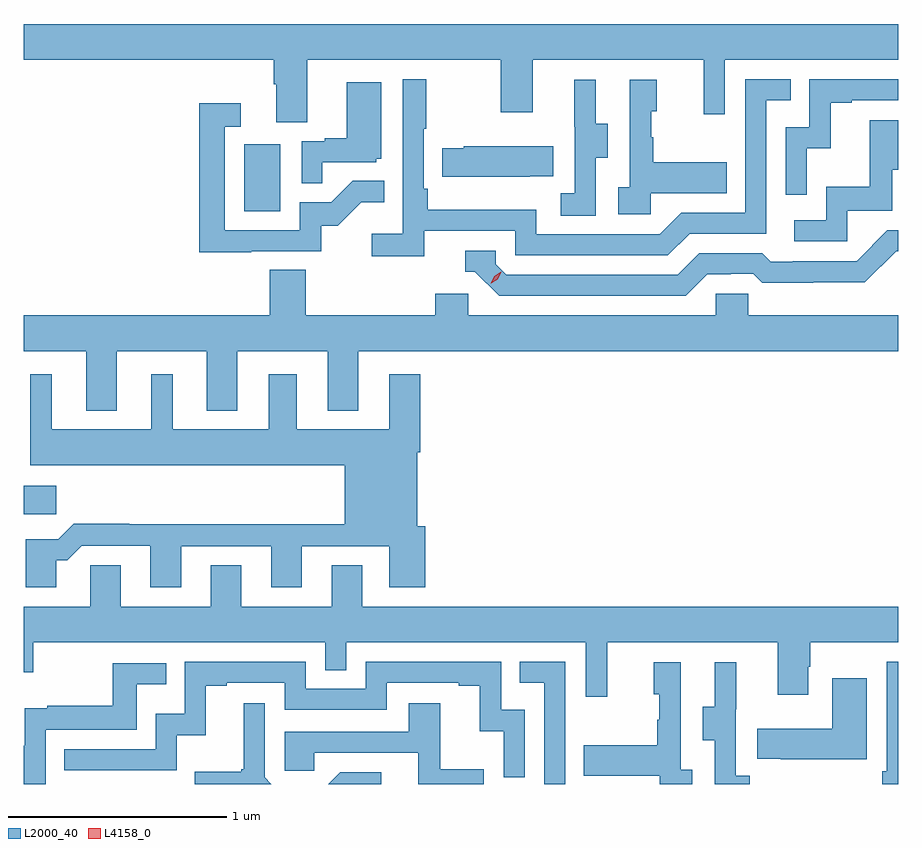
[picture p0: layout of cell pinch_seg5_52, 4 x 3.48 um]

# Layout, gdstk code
import gdstk
lib = gdstk.Library(unit=1e-6, precision=1e-09)
def R(c, l, rs):  # rectangles x0, y0, x1, y1
    for r in rs: c.add(gdstk.rectangle(r[:2], r[2:], *l))
def P(c, l, *ps):  # polygons
    for p in ps: c.add(gdstk.Polygon(p, *l))
L2000_40 = (2000, 40)
L4158_0 = (4158, 0)

pinch_seg5_52 = lib.new_cell('pinch_seg5_52')
R(pinch_seg5_52, L2000_40, [(1089.385,899.971,1089.535,900.1), (1090.394,901.356,1090.558,901.663)])
P(pinch_seg5_52, L2000_40, [(1089.385,902.048),(1090.529,902.048),(1090.529,901.936),(1090.541,901.936),(1090.541,901.762),(1090.681,901.762),(1090.681,902.048),(1091.566,902.048),(1091.566,901.809),(1091.713,901.809),(1091.713,902.048),(1092.494,902.048),(1092.494,901.8),(1092.591,901.8),(1092.591,902.048),(1093.385,902.048),(1093.385,902.212),(1089.385,902.212)],
  [(1091.216,901.266),(1091.634,901.266),(1091.634,901.155),(1092.331,901.155),(1092.43,901.254),(1092.78,901.254),(1092.78,901.863),(1092.893,901.863),(1092.893,901.959),(1092.684,901.959),(1092.684,901.35),(1092.393,901.35),(1092.294,901.251),(1091.73,901.251),(1091.73,901.363),(1091.234,901.363),(1091.234,901.459),(1091.214,901.459),(1091.214,901.732),(1091.227,901.732),(1091.227,901.96),(1091.118,901.96),(1091.118,901.252),(1090.977,901.252),(1090.977,901.15),(1091.216,901.15)],
  [(1092.966,901.643),(1093.076,901.643),(1093.076,901.851),(1093.171,901.851),(1093.171,901.863),(1093.385,901.863),(1093.385,901.959),(1092.978,901.959),(1092.978,901.74),(1092.87,901.74),(1092.87,901.431),(1092.966,901.431)],
  [(1092,901.6),(1092.055,901.6),(1092.055,901.755),(1092.001,901.755),(1092.001,901.957),(1091.903,901.957),(1091.903,901.743),(1091.904,901.743),(1091.904,901.439),(1091.841,901.439),(1091.841,901.336),(1092,901.336)],
  [(1092.252,901.439),(1092.599,901.439),(1092.599,901.579),(1092.265,901.579),(1092.265,901.694),(1092.255,901.694),(1092.255,901.812),(1092.28,901.812),(1092.28,901.957),(1092.156,901.957),(1092.156,901.466),(1092.105,901.466),(1092.105,901.341),(1092.252,901.341)],
  [(1090.751,901.581),(1090.998,901.581),(1090.998,901.596),(1091.02,901.596),(1091.02,901.945),(1090.862,901.945),(1090.862,901.69),(1090.763,901.69),(1090.763,901.677),(1090.656,901.677),(1090.656,901.483),(1090.751,901.483)],
  [(1090.427,901.173),(1090.746,901.173),(1090.746,901.29),(1090.822,901.29),(1090.929,901.397),(1091.033,901.397),(1091.033,901.496),(1090.889,901.496),(1090.791,901.398),(1090.647,901.398),(1090.647,901.269),(1090.305,901.269),(1090.305,901.743),(1090.378,901.743),(1090.378,901.849),(1090.189,901.849),(1090.189,901.168),(1090.427,901.168)],
  [(1093.152,901.359),(1093.357,901.359),(1093.357,901.545),(1093.385,901.545),(1093.385,901.771),(1093.255,901.771),(1093.255,901.468),(1093.056,901.468),(1093.056,901.314),(1092.909,901.314),(1092.909,901.218),(1093.152,901.218)],
  [(1091.699,901.517),(1091.807,901.517),(1091.807,901.654),(1091.397,901.654),(1091.397,901.644),(1091.299,901.644),(1091.299,901.514),(1091.699,901.514)],
  [(1092.511,901.068),(1092.618,901.068),(1092.618,901.071),(1092.721,901.071),(1092.763,901.029),(1092.996,901.029),(1092.996,901.031),(1093.232,901.031),(1093.374,901.173),(1093.385,901.173),(1093.385,901.269),(1093.335,901.269),(1093.194,901.128),(1092.901,901.128),(1092.901,901.125),(1092.802,901.125),(1092.763,901.164),(1092.474,901.164),(1092.375,901.065),(1091.592,901.065),(1091.544,901.113),(1091.544,901.176),(1091.405,901.176),(1091.405,901.08),(1091.448,901.08),(1091.559,900.969),(1092.412,900.969)],
  [(1089.385,900.716),(1089.671,900.716),(1089.671,900.443),(1089.811,900.443),(1089.811,900.716),(1090.223,900.716),(1090.223,900.443),(1090.363,900.443),(1090.363,900.716),(1090.775,900.716),(1090.775,900.443),(1090.915,900.443),(1090.915,900.716),(1093.385,900.716),(1093.385,900.88),(1092.699,900.88),(1092.699,900.978),(1092.549,900.978),(1092.549,900.88),(1091.418,900.88),(1091.418,900.978),(1091.267,900.978),(1091.267,900.88),(1090.676,900.88),(1090.676,901.088),(1090.511,901.088),(1090.511,900.88),(1089.385,900.88)],
  [(1089.535,899.759),(1089.584,899.759),(1089.651,899.826),(1089.965,899.826),(1089.965,899.637),(1090.105,899.637),(1090.105,899.823),(1090.517,899.823),(1090.517,899.637),(1090.657,899.637),(1090.657,899.823),(1091.057,899.823),(1091.057,899.637),(1091.222,899.637),(1091.222,899.916),(1091.185,899.916),(1091.185,900.254),(1091.198,900.254),(1091.198,900.61),(1091.057,900.61),(1091.057,900.358),(1090.633,900.358),(1090.633,900.61),(1090.505,900.61),(1090.505,900.358),(1090.066,900.358),(1090.066,900.61),(1089.968,900.61),(1089.968,900.358),(1089.514,900.358),(1089.514,900.61),(1089.416,900.61),(1089.416,900.194),(1090.853,900.194),(1090.853,899.924),(1089.869,899.924),(1089.869,899.927),(1089.614,899.927),(1089.544,899.857),(1089.395,899.857),(1089.395,899.637),(1089.535,899.637)],
  [(1092.053,899.384),(1092.833,899.384),(1092.833,899.145),(1092.973,899.145),(1092.973,899.273),(1092.981,899.273),(1092.981,899.384),(1093.385,899.384),(1093.385,899.548),(1090.933,899.548),(1090.933,899.738),(1090.793,899.738),(1090.793,899.548),(1090.381,899.548),(1090.381,899.738),(1090.241,899.738),(1090.241,899.548),(1089.829,899.548),(1089.829,899.738),(1089.69,899.738),(1089.69,899.548),(1089.385,899.548),(1089.385,899.249),(1089.429,899.249),(1089.429,899.384),(1090.764,899.384),(1090.764,899.257),(1090.86,899.257),(1090.86,899.384),(1091.955,899.384),(1091.955,899.136),(1092.053,899.136)],
  [(1093.385,899.296),(1093.332,899.296),(1093.332,898.795),(1093.312,898.795),(1093.312,898.737),(1093.385,898.737)],
  [(1091.862,899.295),(1091.653,899.295),(1091.653,899.199),(1091.766,899.199),(1091.766,898.737),(1091.862,898.737)],
  [(1091.676,899.076),(1091.568,899.076),(1091.568,899.295),(1090.95,899.295),(1090.95,899.172),(1090.674,899.172),(1090.674,899.295),(1090.122,899.295),(1090.122,899.059),(1089.99,899.059),(1089.99,898.896),(1089.571,898.896),(1089.571,898.8),(1090.086,898.8),(1090.086,898.961),(1090.219,898.961),(1090.219,899.187),(1090.315,899.187),(1090.315,899.199),(1090.578,899.199),(1090.578,899.076),(1091.046,899.076),(1091.046,899.199),(1091.375,899.199),(1091.375,899.187),(1091.471,899.187),(1091.471,898.979),(1091.58,898.979),(1091.58,898.767),(1091.676,898.767)],
  [(1092.706,898.775),(1092.642,898.775),(1092.642,899.079),(1092.644,899.079),(1092.644,899.293),(1092.545,899.293),(1092.545,899.091),(1092.491,899.091),(1092.491,898.936),(1092.546,898.936),(1092.546,898.737),(1092.706,898.737)],
  [(1092.442,898.802),(1092.39,898.802),(1092.39,899.293),(1092.266,899.293),(1092.266,899.148),(1092.292,899.148),(1092.292,899.03),(1092.282,899.03),(1092.282,898.915),(1091.947,898.915),(1091.947,898.775),(1092.294,898.775),(1092.294,898.737),(1092.442,898.737)],
  [(1089.486,898.986),(1089.903,898.986),(1089.903,899.192),(1090.037,899.192),(1090.037,899.289),(1089.792,899.289),(1089.792,899.095),(1089.493,899.095),(1089.493,899.083),(1089.39,899.083),(1089.39,898.911),(1089.385,898.911),(1089.385,898.737),(1089.486,898.737)],
  [(1093.24,899.221),(1093.082,899.221),(1093.082,898.99),(1092.739,898.99),(1092.739,898.853),(1092.847,898.853),(1092.847,898.85),(1093.24,898.85)],
  [(1091.49,898.804),(1091.291,898.804),(1091.291,899.107),(1091.147,899.107),(1091.147,898.977),(1090.578,898.977),(1090.578,898.797),(1090.715,898.797),(1090.715,898.881),(1091.189,898.881),(1091.189,898.737),(1091.49,898.737)],
  [(1090.488,898.767),(1090.488,899.107),(1090.391,899.107),(1090.391,898.804),(1090.38,898.804),(1090.38,898.792),(1090.167,898.792),(1090.167,898.737),(1090.518,898.737)],
  [(1091.02,898.791),(1090.832,898.791),(1090.778,898.737),(1091.02,898.737)])
P(pinch_seg5_52, L4158_0, [(1091.522,901.026),(1091.522,901.026),(1091.538,901.059),(1091.568,901.079),(1091.568,901.079),(1091.568,901.078),(1091.553,901.046),(1091.523,901.026)])

lib.write_gds('pinch_seg5_52.gds')
